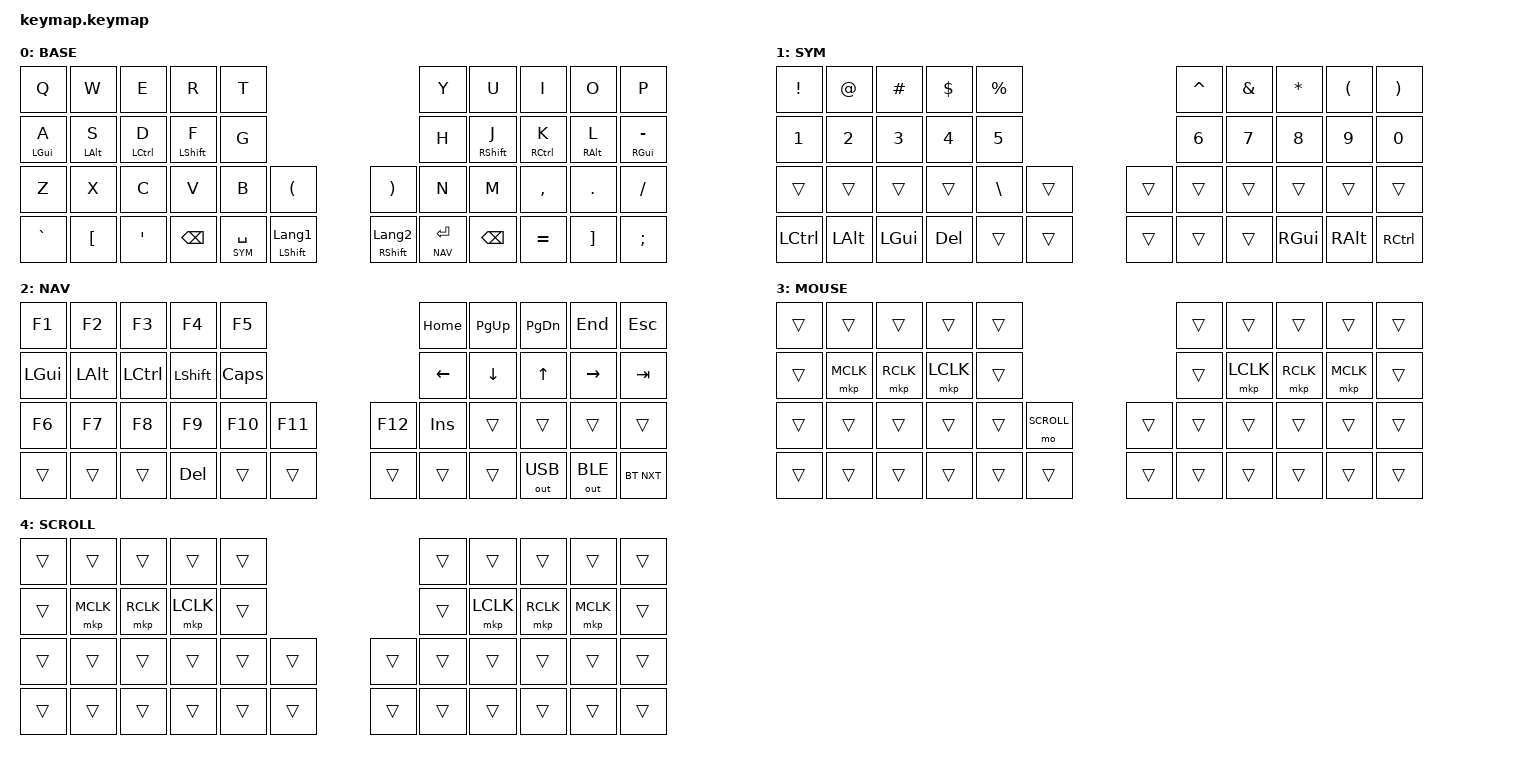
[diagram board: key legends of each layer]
#include <behaviors.dtsi>
#include <dt-bindings/zmk/bt.h>
#include <dt-bindings/zmk/keys.h>
#include <dt-bindings/zmk/outputs.h>
#include <dt-bindings/zmk/pointing.h>

// Layer indices. Held layers come first, then the trackball layers.
// Written for the S physical layout: 44 keys, 5+5 / 5+5 / 6+6 / 6+6.
// The two centre columns only exist on the bottom two rows.
// MOUSE / SCROLL must match AUTO_MOUSE_LAYER / SCROLL_LAYER in
// boards/shields/torabo_tsuki_lp/torabo_tsuki_lp_right.overlay.
#define BASE   0
#define SYM    1
#define NAV    2
#define MOUSE  3
#define SCROLL 4

// Key positions, used below by the home row mods and the combos.
//
//    0  1  2  3  4                 5  6  7  8  9
//   10 11 12 13 14                15 16 17 18 19
//   20 21 22 23 24 25          26 27 28 29 30 31
//   32 33 34 35 36 37          38 39 40 41 42 43
//                  ^^^^^^^^^^^^^^^^^^ thumbs
#define KEYS_L  0  1  2  3  4 10 11 12 13 14 20 21 22 23 24 25 32 33 34
#define KEYS_R  5  6  7  8  9 15 16 17 18 19 26 27 28 29 30 31 41 42 43
#define THUMBS 35 36 37 38 39 40

/ {
    behaviors {
        // "Timeless" home row mods. A long tapping term plus a positional
        // hold-tap means the tap/hold decision does not depend on how fast
        // you happen to be typing:
        //   - hold-trigger-key-positions: a mod only engages for a key on the
        //     other hand (or a thumb), so same-hand rolls always stay taps.
        //   - require-prior-idle-ms: mid-word keys resolve as taps outright.
        //   - quick-tap-ms: tap-then-hold repeats the letter instead.
        //   - hold-trigger-on-release: lets two mods on one hand combine.
        hml: home_row_mod_left {
            compatible = "zmk,behavior-hold-tap";
            #binding-cells = <2>;
            flavor = "balanced";
            tapping-term-ms = <280>;
            quick-tap-ms = <175>;
            require-prior-idle-ms = <150>;
            hold-trigger-key-positions = <KEYS_R THUMBS>;
            hold-trigger-on-release;
            bindings = <&kp>, <&kp>;
        };

        hmr: home_row_mod_right {
            compatible = "zmk,behavior-hold-tap";
            #binding-cells = <2>;
            flavor = "balanced";
            tapping-term-ms = <280>;
            quick-tap-ms = <175>;
            require-prior-idle-ms = <150>;
            hold-trigger-key-positions = <KEYS_L THUMBS>;
            hold-trigger-on-release;
            bindings = <&kp>, <&kp>;
        };
    };

    combos {
        compatible = "zmk,combos";

        // Q+W and Z+X are bigrams that never occur in English or in romaji,
        // so these two cannot misfire while typing.
        combo_esc {
            bindings = <&kp ESC>;
            key-positions = <0 1>;
            layers = <BASE>;
            timeout-ms = <40>;
        };

        combo_tab {
            bindings = <&kp TAB>;
            key-positions = <20 21>;
            layers = <BASE>;
            timeout-ms = <40>;
        };

        // The two radio keys of the NAV layer, pressed together.
        bt_clear {
            bindings = <&bt BT_CLR>;
            key-positions = <42 43>;
            layers = <NAV>;
            timeout-ms = <50>;
        };
    };

    keymap {
        compatible = "zmk,keymap";

        // 0: BASE
        //
        // Every modifier lives on the home row, which frees the whole bottom
        // row for symbols. With shift, the base layer alone reaches
        // - _ , < . > / ? ; : [ { ] } = + ` ~ ( ) and the quote pair -
        // everything except the shifted digits, which are on SYM.
        base_layer {
            display-name = "BASE";
            bindings = <
&kp Q        &kp W        &kp E         &kp R         &kp T                                                                   &kp Y          &kp U         &kp I         &kp O        &kp P
&hml LGUI A  &hml LALT S  &hml LCTRL D  &hml LSHFT F  &kp G                                                                   &kp H          &hmr RSHFT J  &hmr RCTRL K  &hmr RALT L  &hmr RGUI MINUS
&kp Z        &kp X        &kp C         &kp V         &kp B          &kp LPAR                   &kp RPAR                      &kp N          &kp M         &kp COMMA     &kp DOT      &kp FSLH
&kp GRAVE    &kp LBKT     &kp SQT       &kp BSPC      &lt SYM SPACE  &mt LEFT_SHIFT LANGUAGE_1  &mt RSHIFT LANGUAGE_2  &lt NAV ENTER         &kp BSPC      &kp EQUAL     &kp RBKT     &kp SEMI
            >;
        };

        // 1: SYM - digits and the shifted digits. Held with the left thumb
        // (&lt SYM SPACE). The bottom row carries plain modifiers so that
        // chords like Ctrl+1 or Alt+4 stay reachable while the layer is held.
        sym_layer {
            display-name = "SYM";
            bindings = <
&kp EXCL   &kp AT     &kp HASH   &kp DLLR  &kp PRCNT                      &kp CARET  &kp AMPS  &kp ASTRK  &kp LPAR  &kp RPAR
&kp N1     &kp N2     &kp N3     &kp N4    &kp N5                         &kp N6     &kp N7    &kp N8     &kp N9    &kp N0
&trans     &trans     &trans     &trans    &kp BSLH   &trans     &trans   &trans     &trans    &trans     &trans    &trans
&kp LCTRL  &kp LALT   &kp LGUI   &kp DEL   &trans     &trans     &trans   &trans     &trans    &kp RGUI   &kp RALT  &kp RCTRL
            >;
        };

        // 2: NAV - arrows, function keys and radio control. Held with the right
        // thumb (&lt NAV ENTER), so the left home row carries plain modifiers:
        // Shift+Arrow to select, Ctrl+Arrow to jump by word, and so on.
        nav_layer {
            display-name = "NAV";
            bindings = <
&kp F1    &kp F2    &kp F3     &kp F4     &kp F5                        &kp HOME  &kp PG_UP  &kp PG_DN     &kp END       &kp ESC
&kp LGUI  &kp LALT  &kp LCTRL  &kp LSHFT  &kp CAPS                      &kp LEFT  &kp DOWN   &kp UP        &kp RIGHT     &kp TAB
&kp F6    &kp F7    &kp F8     &kp F9     &kp F10   &kp F11   &kp F12   &kp INS   &trans     &trans        &trans        &trans
&trans    &trans    &trans     &kp DEL    &trans    &trans    &trans    &trans    &trans     &out OUT_USB  &out OUT_BLE  &bt BT_NXT
            >;
        };

        // 3: MOUSE - auto mouse layer. Entered automatically by moving the
        // trackball (see zip_temp_layer in torabo_tsuki_lp_right.overlay).
        // &mo SCROLL sits on the left centre key of the Z row (position 25),
        // the topmost centre key the S layout has.
        mouse_layer {
            display-name = "MOUSE";
            bindings = <
&trans  &trans     &trans     &trans     &trans                      &trans  &trans     &trans     &trans     &trans
&trans  &mkp MCLK  &mkp RCLK  &mkp LCLK  &trans                      &trans  &mkp LCLK  &mkp RCLK  &mkp MCLK  &trans
&trans  &trans     &trans     &trans     &trans  &mo SCROLL  &trans  &trans  &trans     &trans     &trans     &trans
&trans  &trans     &trans     &trans     &trans  &trans      &trans  &trans  &trans     &trans     &trans     &trans
            >;
        };

        // 4: SCROLL - held from MOUSE; trackball movement becomes wheel movement
        // (see the "scroller" override in torabo_tsuki_lp_right.overlay).
        scroll_layer {
            display-name = "SCROLL";
            bindings = <
&trans  &trans     &trans     &trans     &trans                  &trans  &trans     &trans     &trans     &trans
&trans  &mkp MCLK  &mkp RCLK  &mkp LCLK  &trans                  &trans  &mkp LCLK  &mkp RCLK  &mkp MCLK  &trans
&trans  &trans     &trans     &trans     &trans  &trans  &trans  &trans  &trans     &trans     &trans     &trans
&trans  &trans     &trans     &trans     &trans  &trans  &trans  &trans  &trans     &trans     &trans     &trans
            >;
        };
    };
};
